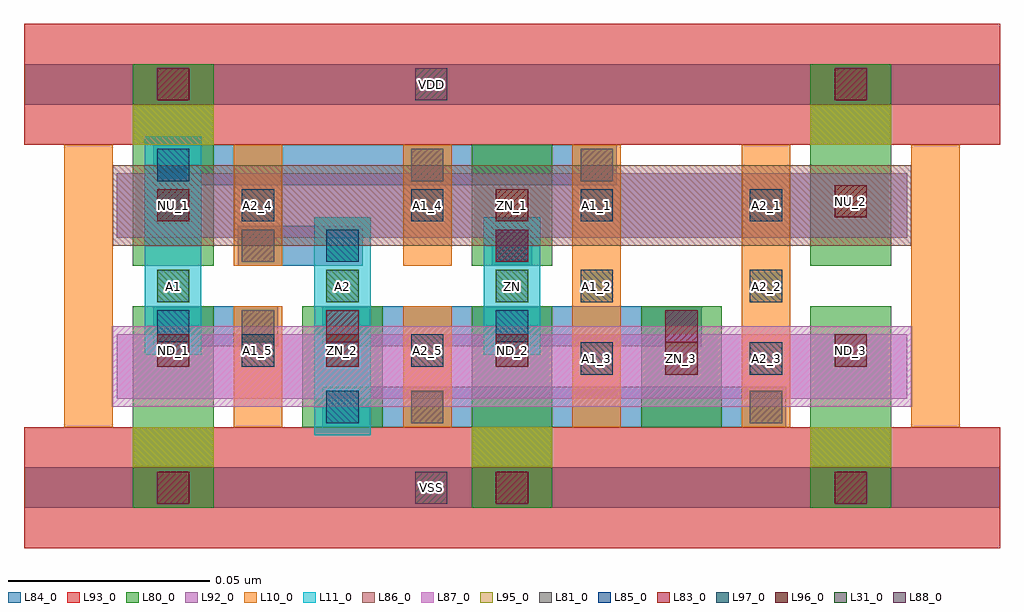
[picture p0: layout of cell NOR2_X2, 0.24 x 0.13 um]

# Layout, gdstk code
import gdstk
lib = gdstk.Library(unit=1e-6, precision=1e-09)
def R(c, l, rs):  # rectangles x0, y0, x1, y1
    for r in rs: c.add(gdstk.rectangle(r[:2], r[2:], *l))
def A(c, l, x, y, w, h, nx, ny, dx, dy):  # array of equal rectangles
    R(c, l, [(x+i*dx, y+j*dy, x+i*dx+w, y+j*dy+h) for i in range(nx) for j in range(ny)])
L10_0 = (10, 0)
L11_0 = (11, 0)
L31_0 = (31, 0)
L80_0 = (80, 0)
L81_0 = (81, 0)
L83_0 = (83, 0)
L84_0 = (84, 0)
L85_0 = (85, 0)
L86_0 = (86, 0)
L87_0 = (87, 0)
L88_0 = (88, 0)
L92_0 = (92, 0)
L93_0 = (93, 0)
L95_0 = (95, 0)
L96_0 = (96, 0)
L97_0 = (97, 0)

nor2_x2 = lib.new_cell('NOR2_X2')
A(nor2_x2, L10_0, 0.099, 0.015, 0.012, 0.07, 3, 1, 0.042, 0)
R(nor2_x2, L10_0, [(-0.027,0.015,-0.015,0.085), (0.015,0.015,0.027,0.045), (0.057,0.015,0.069,0.045), (0.015,0.055,0.027,0.085), (0.057,0.055,0.069,0.085)])
R(nor2_x2, L11_0, [(0.035,0.013,0.049,0.047), (0.035,0.013,0.049,0.047), (-0.007,0.033,0.007,0.067), (-0.007,0.033,0.007,0.067), (0.035,0.033,0.049,0.067), (0.035,0.033,0.049,0.067), (0.077,0.033,0.091,0.067), (0.077,0.033,0.091,0.067), (-0.007,0.053,0.007,0.087), (-0.007,0.053,0.007,0.087)])
A(nor2_x2, L31_0, -0.004, 0.046, 0.008, 0.008, 3, 1, 0.042, 0)
A(nor2_x2, L80_0, -0.01, -0.005, 0.02, 0.03, 3, 2, 0.084, 0.06)
A(nor2_x2, L80_0, -0.01, 0.015, 0.02, 0.03, 5, 1, 0.042, 0)
R(nor2_x2, L80_0, [(-0.01,0.075,0.01,0.105), (0.158,0.075,0.178,0.105)])
R(nor2_x2, L81_0, [(0.059,0.016,0.067,0.024), (0.059,0.016,0.067,0.024), (0.143,0.016,0.151,0.024), (0.143,0.016,0.151,0.024), (0.017,0.036,0.025,0.044), (0.017,0.036,0.025,0.044), (0.017,0.056,0.025,0.064), (0.017,0.056,0.025,0.064), (0.059,0.076,0.067,0.084), (0.059,0.076,0.067,0.084), (0.101,0.076,0.109,0.084), (0.101,0.076,0.109,0.084)])
A(nor2_x2, L83_0, -0.004, -0.004, 0.008, 0.008, 3, 1, 0.084, 0)
R(nor2_x2, L83_0, [(0.038,0.036,0.046,0.044), (0.038,0.036,0.046,0.044), (0.122,0.036,0.13,0.044), (0.122,0.036,0.13,0.044), (0.08,0.056,0.088,0.064), (0.08,0.056,0.088,0.064), (-0.004,0.096,0.004,0.104), (0.164,0.096,0.172,0.104)])
R(nor2_x2, L84_0, [(-0.037,-0.005,0.205,0.005), (0.037,0.015,0.068,0.025), (0.037,0.015,0.068,0.025), (0.058,0.015,0.089,0.025), (0.058,0.015,0.089,0.025), (0.079,0.015,0.11,0.025), (0.079,0.015,0.11,0.025), (0.1,0.015,0.131,0.025), (0.1,0.015,0.131,0.025), (0.121,0.015,0.152,0.025), (0.121,0.015,0.152,0.025), (-0.005,0.035,0.026,0.045), (-0.005,0.035,0.026,0.045), (0.037,0.035,0.068,0.045), (0.037,0.035,0.068,0.045), (0.058,0.035,0.089,0.045), (0.058,0.035,0.089,0.045), (0.079,0.035,0.11,0.045), (0.079,0.035,0.11,0.045), (0.1,0.035,0.131,0.045), (0.1,0.035,0.131,0.045), (0.016,0.055,0.047,0.065), (0.016,0.055,0.047,0.065), (0.079,0.055,0.089,0.065), (0.079,0.055,0.089,0.065), (-0.005,0.075,0.026,0.085), (-0.005,0.075,0.026,0.085), (0.016,0.075,0.047,0.085), (0.016,0.075,0.047,0.085), (0.037,0.075,0.068,0.085), (0.037,0.075,0.068,0.085), (0.058,0.075,0.089,0.085), (0.058,0.075,0.089,0.085), (0.079,0.075,0.11,0.085), (0.079,0.075,0.11,0.085), (-0.037,0.095,0.205,0.105)])
R(nor2_x2, L85_0, [(0.038,0.016,0.046,0.024), (0.038,0.016,0.046,0.024), (-0.004,0.036,0.004,0.044), (-0.004,0.036,0.004,0.044), (0.08,0.036,0.088,0.044), (0.08,0.036,0.088,0.044), (0.038,0.056,0.046,0.064), (0.038,0.056,0.046,0.064), (0.08,0.056,0.088,0.064), (0.08,0.056,0.088,0.064), (-0.004,0.076,0.004,0.084), (-0.004,0.076,0.004,0.084)])
R(nor2_x2, L86_0, [(-0.015,0.06,0.183,0.08)])
R(nor2_x2, L87_0, [(-0.015,0.02,0.183,0.04)])
R(nor2_x2, L88_0, [(0.06,-0.004,0.068,0.004), (0.06,0.096,0.068,0.104)])
R(nor2_x2, L92_0, [(-0.014,0.022,0.182,0.038), (-0.014,0.062,0.182,0.078)])
R(nor2_x2, L93_0, [(-0.037,-0.015,0.205,0.015), (-0.037,0.085,0.205,0.115)])
A(nor2_x2, L95_0, -0.01, 0.005, 0.02, 0.01, 3, 1, 0.084, 0)
R(nor2_x2, L95_0, [(-0.01,0.085,0.01,0.095), (0.158,0.085,0.178,0.095)])
A(nor2_x2, L96_0, -0.004, 0.03, 0.008, 0.008, 3, 1, 0.042, 0)
R(nor2_x2, L96_0, [(0.122,0.028,0.13,0.036), (0.164,0.03,0.172,0.038), (-0.004,0.066,0.004,0.074), (0.08,0.066,0.088,0.074), (0.164,0.067,0.172,0.075)])
A(nor2_x2, L97_0, 0.017, 0.066, 0.008, 0.008, 4, 1, 0.042, 0)
R(nor2_x2, L97_0, [(0.101,0.028,0.109,0.036), (0.143,0.028,0.151,0.036), (0.017,0.03,0.025,0.038), (0.059,0.03,0.067,0.038), (0.101,0.046,0.109,0.054), (0.143,0.046,0.151,0.054)])
nor2_x2.add(gdstk.Label('A2_1', (0.147,0.07), layer=97, texttype=0))
nor2_x2.add(gdstk.Label('A1_2', (0.105,0.05), layer=97, texttype=0))
nor2_x2.add(gdstk.Label('A1_3', (0.105,0.032), layer=97, texttype=0))
nor2_x2.add(gdstk.Label('A2_2', (0.147,0.05), layer=97, texttype=0))
nor2_x2.add(gdstk.Label('A2_3', (0.147,0.032), layer=97, texttype=0))
nor2_x2.add(gdstk.Label('A1_1', (0.105,0.07), layer=97, texttype=0))
nor2_x2.add(gdstk.Label('A2_4', (0.021,0.07), layer=97, texttype=0))
nor2_x2.add(gdstk.Label('A1_4', (0.063,0.07), layer=97, texttype=0))
nor2_x2.add(gdstk.Label('A2_5', (0.063,0.034), layer=97, texttype=0))
nor2_x2.add(gdstk.Label('A1_5', (0.021,0.034), layer=97, texttype=0))
nor2_x2.add(gdstk.Label('ND_1', (0,0.034), layer=96, texttype=0))
nor2_x2.add(gdstk.Label('ND_3', (0.168,0.034), layer=96, texttype=0))
nor2_x2.add(gdstk.Label('ND_2', (0.084,0.034), layer=96, texttype=0))
nor2_x2.add(gdstk.Label('ZN_1', (0.084,0.07), layer=96, texttype=0))
nor2_x2.add(gdstk.Label('ZN_2', (0.042,0.034), layer=96, texttype=0))
nor2_x2.add(gdstk.Label('NU_1', (0,0.07), layer=96, texttype=0))
nor2_x2.add(gdstk.Label('NU_2', (0.168,0.071), layer=96, texttype=0))
nor2_x2.add(gdstk.Label('ZN_3', (0.126,0.032), layer=96, texttype=0))
nor2_x2.add(gdstk.Label('VSS', (0.064,0), layer=88, texttype=0))
nor2_x2.add(gdstk.Label('VDD', (0.064,0.1), layer=88, texttype=0))
nor2_x2.add(gdstk.Label('ZN', (0.084,0.05), layer=31, texttype=0))
nor2_x2.add(gdstk.Label('A2', (0.042,0.05), layer=31, texttype=0))
nor2_x2.add(gdstk.Label('A1', (0,0.05), layer=31, texttype=0))

lib.write_gds('NOR2_X2.gds')
